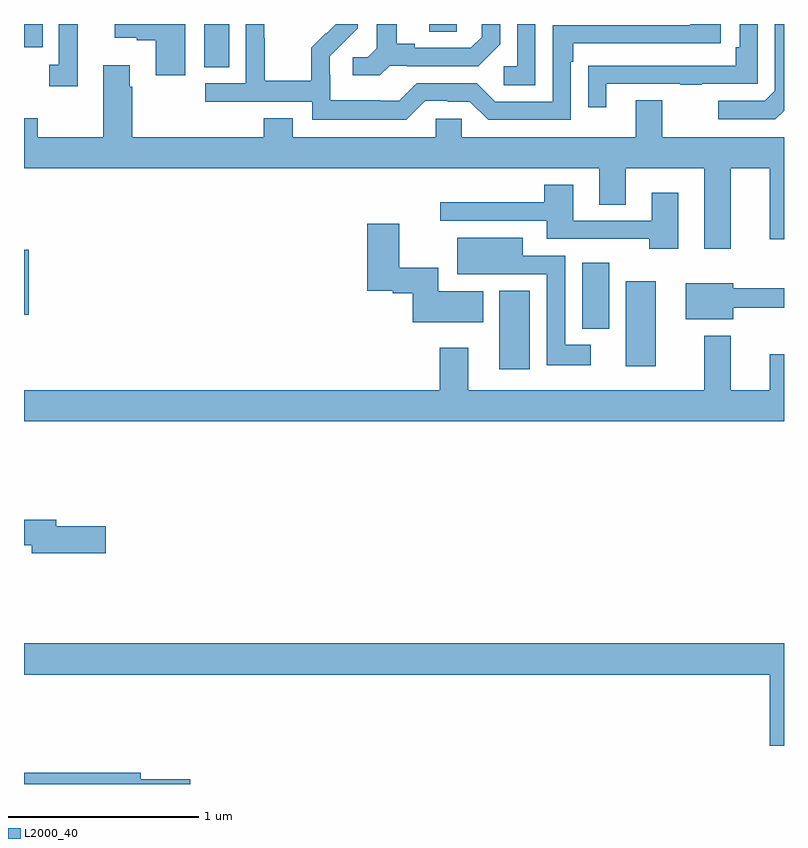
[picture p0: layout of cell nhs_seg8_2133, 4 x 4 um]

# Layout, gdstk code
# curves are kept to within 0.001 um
import gdstk
lib = gdstk.Library(unit=1e-6, precision=1e-09)
def R(c, l, rs):  # rectangles x0, y0, x1, y1
    for r in rs: c.add(gdstk.rectangle(r[:2], r[2:], *l))
def P(c, l, *ps):  # polygons
    for p in ps: c.add(gdstk.Polygon(p, *l))
L2000_40 = (2000, 40)

nhs_seg8_2133 = lib.new_cell('nhs_seg8_2133')
R(nhs_seg8_2133, L2000_40, [(247.502,1142.082,247.663,1142.497), (248.168,1142.1,248.326,1142.545), (247.937,1142.297,248.08,1142.644), (245,1142.369,245.026,1142.713), (245.948,1143.673,246.079,1143.9), (245,1143.778,245.099,1143.9), (247.133,1143.859,247.278,1143.9)])
P(nhs_seg8_2133, L2000_40, [(247.113,1143.495),(247.229,1143.495),(247.229,1143.492),(247.347,1143.492),(247.443,1143.396),(247.878,1143.396),(247.878,1143.701),(247.891,1143.701),(247.891,1143.798),(248.668,1143.798),(248.668,1143.9),(248.507,1143.9),(248.507,1143.894),(247.782,1143.894),(247.782,1143.492),(247.479,1143.492),(247.383,1143.588),(247.068,1143.588),(246.975,1143.495),(246.875,1143.495),(246.875,1143.499),(246.612,1143.499),(246.612,1143.633),(246.61,1143.633),(246.61,1143.73),(246.756,1143.878),(246.756,1143.9),(246.642,1143.9),(246.591,1143.849),(246.588,1143.852),(246.511,1143.775),(246.511,1143.601),(246.267,1143.601),(246.267,1143.824),(246.264,1143.824),(246.264,1143.9),(246.168,1143.9),(246.168,1143.588),(245.955,1143.588),(245.955,1143.492),(246.516,1143.492),(246.516,1143.395),(247.013,1143.395)],
  [(247.692,1143.9),(247.596,1143.9),(247.596,1143.678),(247.524,1143.678),(247.524,1143.577),(247.692,1143.577)],
  [(246.924,1143.681),(247.018,1143.681),(247.018,1143.678),(247.39,1143.678),(247.506,1143.794),(247.506,1143.9),(247.409,1143.9),(247.409,1143.831),(247.352,1143.774),(247.057,1143.774),(247.057,1143.797),(246.961,1143.797),(246.961,1143.9),(246.857,1143.9),(246.857,1143.773),(246.81,1143.726),(246.729,1143.726),(246.729,1143.629),(246.872,1143.629)],
  [(245.282,1143.9),(245.184,1143.9),(245.184,1143.686),(245.133,1143.686),(245.133,1143.573),(245.282,1143.573)],
  [(248.065,1143.585),(248.455,1143.585),(248.455,1143.58),(248.567,1143.58),(248.567,1143.585),(248.862,1143.585),(248.862,1143.9),(248.766,1143.9),(248.766,1143.778),(248.746,1143.778),(248.746,1143.681),(248.071,1143.681),(248.071,1143.68),(247.969,1143.68),(247.969,1143.462),(248.065,1143.462)],
  [(249,1143.444),(249,1143.9),(248.952,1143.9),(248.952,1143.549),(248.898,1143.495),(248.655,1143.495),(248.655,1143.399),(248.955,1143.399)],
  [(245.848,1143.9),(245.478,1143.9),(245.478,1143.827),(245.594,1143.827),(245.594,1143.815),(245.693,1143.815),(245.693,1143.63),(245.848,1143.63)],
  [(248.719,1143.14),(248.924,1143.14),(248.924,1142.766),(249,1142.766),(249,1143.304),(248.359,1143.304),(248.359,1143.499),(248.219,1143.499),(248.219,1143.304),(247.305,1143.304),(247.305,1143.402),(247.167,1143.402),(247.167,1143.304),(246.415,1143.304),(246.415,1143.403),(246.263,1143.403),(246.263,1143.304),(245.57,1143.304),(245.57,1143.569),(245.557,1143.569),(245.557,1143.682),(245.417,1143.682),(245.417,1143.304),(245.073,1143.304),(245.073,1143.403),(245,1143.403),(245,1143.14),(248.027,1143.14),(248.027,1142.95),(248.167,1142.95),(248.167,1143.14),(248.579,1143.14),(248.579,1142.718),(248.719,1142.718)],
  [(248.443,1143.013),(248.303,1143.013),(248.303,1142.865),(247.891,1142.865),(247.891,1143.055),(247.739,1143.055),(247.739,1142.962),(247.191,1142.962),(247.191,1142.865),(247.751,1142.865),(247.751,1142.769),(248.291,1142.769),(248.291,1142.718),(248.443,1142.718)],
  [(247.417,1142.494),(247.18,1142.494),(247.18,1142.618),(246.976,1142.618),(246.976,1142.848),(246.806,1142.848),(246.806,1142.495),(246.942,1142.495),(246.942,1142.483),(247.046,1142.483),(247.046,1142.33),(247.417,1142.33)],
  [(247.984,1142.212),(247.848,1142.212),(247.848,1142.679),(247.624,1142.679),(247.624,1142.776),(247.28,1142.776),(247.28,1142.582),(247.506,1142.582),(247.506,1142.583),(247.752,1142.583),(247.752,1142.105),(247.984,1142.105)],
  [(248.734,1142.407),(249,1142.407),(249,1142.51),(248.734,1142.51),(248.734,1142.536),(248.483,1142.536),(248.483,1142.345),(248.734,1142.345)],
  [(249,1142.161),(248.924,1142.161),(248.924,1141.972),(248.719,1141.972),(248.719,1142.26),(248.579,1142.26),(248.579,1141.972),(247.339,1141.972),(247.339,1142.197),(247.187,1142.197),(247.187,1141.972),(245,1141.972),(245,1141.808),(249,1141.808)],
  [(245.431,1141.256),(245.17,1141.256),(245.17,1141.292),(245,1141.292),(245,1141.156),(245.042,1141.156),(245.042,1141.114),(245.431,1141.114)],
  [(249,1140.64),(245,1140.64),(245,1140.476),(248.924,1140.476),(248.924,1140.102),(249,1140.102)],
  [(245.875,1139.924),(245.614,1139.924),(245.614,1139.96),(245,1139.96),(245,1139.9),(245.875,1139.9)])

lib.write_gds('nhs_seg8_2133.gds')
